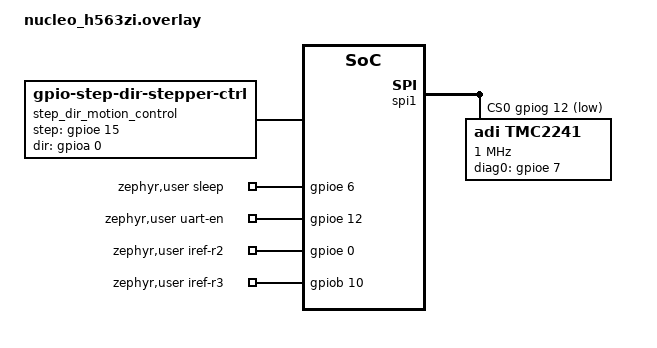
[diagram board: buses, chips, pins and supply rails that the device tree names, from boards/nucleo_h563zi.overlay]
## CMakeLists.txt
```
 # SPDX-FileCopyrightText: Copyright (c) 2025 Jilay Sandeep Pandya
 # SPDX-License-Identifier: Apache-2.0

cmake_minimum_required(VERSION 3.28.0)

find_package(Zephyr REQUIRED HINTS $ENV{ZEPHYR_BASE})
project(stepper_generic)

FILE(GLOB app_sources src/*.c)
target_sources(app PRIVATE ${app_sources})
```

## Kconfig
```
# SPDX-FileCopyrightText: Copyright (c) 2025 Jilay Sandeep Pandya
# SPDX-License-Identifier: Apache-2.0

mainmenu "Stepper generic sample application"

config STEPS_PER_REV
	int "Steps per revolution"
	default 200

config STEP_INTERVAL_NS
	int "Step interval (ns)"
	default 1000000

config PING_PONG_N_REV
	int "Change direction every N revolutions"
	default 1

config RAMP_ACCELERATION
	int "Ramp acceleration micro-step/s²"
	default 100

config RAMP_MAX_VELOCITY
	int "Ramp max velocity micro-steps/s"
	default 1000

config RAMP_DECELERATION
	int "Ramp deceleration micro-step/s²"
	default 100

config MONITOR_THREAD_TIMEOUT_MS
	int "Monitor thread timeout (ms)"
	default 1000

config MONITOR_THREAD_STACK_SIZE
	int "Monitor thread stack size"
	default 1024

source "Kconfig.zephyr"
```

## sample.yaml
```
sample:
  name: Generic Stepper Sample
tests:
  sample.drivers.stepper.generic:
    harness: stepper
    tags: stepper
    platform_allow: nucleo_g071rb
    depends_on: gpio input
```

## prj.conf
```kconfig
CONFIG_STEPPER=y
CONFIG_LOG=y
CONFIG_INPUT=y
```

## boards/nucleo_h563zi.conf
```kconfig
# Default CONFIG_STEP_INTERVAL_NS (1ms/microstep) turns the motor far too
# slowly for StallGuard's back-EMF-based load estimate to produce a meaningful
# signal. 50us/microstep, together with the 16 microsteps/step set in the
# overlay, was measured on hardware to give a usable signal (TSTEP 400 fCLK
# cycles at 16 MHz).
CONFIG_STEP_INTERVAL_NS=50000
```

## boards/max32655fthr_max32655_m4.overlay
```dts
/*
 * SPDX-FileCopyrightText: Copyright (c) 2026
 * SPDX-License-Identifier: Apache-2.0
 *
 * TMC2241-EVKIT (TMC2241-EVAL board only, Landungsbruecke/Eselsbruecke
 * bypassed), wired directly to the MAX32655FTHR (M4 core) Feather header.
 *
 * TMC2241-EVAL J201 (44-pin, main IO connector) -> MAX32655FTHR Feather:
 *   27 SPI_SCK     -> feather pin 6  (feather_spi, shared bus)
 *   29 SPI_MOSI    -> feather pin 7  (feather_spi)
 *   28 SPI_MISO    -> feather pin 8  (feather_spi)
 *   24 SPI_CS_DRV  -> feather_spi CS0 (dedicated SS0 pin, hardware chip select)
 *    8 DRV_EN      -> feather pin 17 (gpio0.24)
 *   38 DIAG0       -> feather pin 18 (gpio0.25)
 *    1 GND         -> Feather GND
 *   44 (unused; +5V_VM is a separate board-internal rail, not needed here)
 *
 * TMC2241-EVAL J205 (direct STEP/DIR header) -> MAX32655FTHR Feather:
 *   STEP -> feather pin 19 (gpio1.7)
 *   DIR  -> feather pin 20 (gpio1.6)
 *   GND  -> Feather GND
 *
 * Board-local jumpers on TMC2241-EVAL (no MCU GPIO needed):
 *   - J201 pin 20 (UART_EN) -> GND (selects SPI mode; internal pulldown
 *     already defaults this, but tie explicitly since it's run out to a
 *     44-pin connector)
 *   - J201 pin 23 (CLK)     -> GND (use the internal 12.5MHz oscillator,
 *     per TMC2241 datasheet "Clock Oscillator and Clock Input")
 *   - J201 pin 19 (SLEEP)   -> PTH209 (+VCC_IO test point) (internal
 *     pulldown means floating = sleep mode; must be held high)
 *   - MAX32655FTHR 3V3      -> PTH209 (+VCC_IO) / PTH210 (GND) (R202 is
 *     populated by default, routing +VCC_IO to IC201's 3.3V LDO output net
 *     -- the LDO is unpowered without the Landungsbruecke, so driving
 *     +VCC_IO directly from the MCU's 3V3 here is safe)
 *   - Motor power (+VM/GND) -> external bench PSU into J202, NOT the MCU.
 */

/ {
	aliases {
		stepper-driver = &tmc2241_stepper_driver;
		stepper-ctrl = &step_dir_motion_control;
	};

	step_dir_motion_control: motion-controller {
		compatible = "zephyr,gpio-step-dir-stepper-ctrl";
		step-gpios = <&gpio1 7 GPIO_ACTIVE_HIGH>; /* feather pin 19 */
		dir-gpios = <&gpio1 6 GPIO_ACTIVE_HIGH>;  /* feather pin 20 */
		stepper-driver = <&tmc2241_stepper_driver>;
	};
};

&feather_spi {
	tmc2241: tmc2241@0 {
		compatible = "adi,tmc2241";
		reg = <0>;
		spi-max-frequency = <DT_FREQ_M(1)>;

		clock-frequency = <12500000>; /* internal osc typ. freq, see note above */
		en-pwm-mode;
		diag0-gpios = <&gpio0 25 GPIO_ACTIVE_HIGH>; /* feather pin 18 */

		tmc2241_stepper_driver: stepper-driver {
			compatible = "adi,tmc5241-stepper-driver";
			/* feather pin 17, DRV_ENN active-low */
			en-gpios = <&gpio0 24 GPIO_ACTIVE_LOW>;
			micro-step-res = <256>;
			stallguard2-threshold = <9>;
		};
	};
};
```

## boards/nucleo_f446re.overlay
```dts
#include <zephyr/dt-bindings/gpio/gpio.h>

/ {
	aliases {
		stepper = &tmc2209;
	};

	chosen {
		zephyr,shell-uart = &usart2;
	};
};

&timers2 {
	status = "okay";

	counter2: counter {
		status = "okay";

		pwm {
			status = "disabled";
		};
	};
};

/ {

	tmc2209: adi_tmc2209 {
		status = "okay";
		compatible = "adi,tmc2209";

		step-gpios = <&gpioa 10 GPIO_ACTIVE_HIGH>; /* D2 */
		dir-gpios = <&gpiob 3 GPIO_ACTIVE_HIGH>; /* D3 */
		en-gpios = <&gpiob 5 GPIO_ACTIVE_HIGH>; /* D4 */

		counter = <&counter2>;
	};
};
```

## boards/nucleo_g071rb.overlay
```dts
/*
 * Copyright (c) 2025 Jilay Sandeep Pandya
 *
 * SPDX-License-Identifier: Apache-2.0
 */

/ {
	aliases {
		stepper-driver = &tmc2209;
		stepper-ctrl = &step_dir_motion_control;
	};

	tmc2209: stepper-driver {
		compatible = "adi,tmc2209";
		en-gpios = <&gpioa 6 GPIO_ACTIVE_HIGH>; /* D12 */
		m0-gpios = <&gpiob 0 GPIO_ACTIVE_HIGH>; /* D10 */
		m1-gpios = <&gpioa 7 GPIO_ACTIVE_HIGH>; /* D11 */
		micro-step-res = <32>;
	};

	step_dir_motion_control: motion-controller {
		compatible = "zephyr,gpio-step-dir-stepper-ctrl";
		step-gpios = <&gpioa 9 GPIO_ACTIVE_HIGH>; /* D8 */
		dir-gpios = <&gpioc 7 GPIO_ACTIVE_HIGH>; /* D9 */
		invert-direction;
		stepper-driver = <&tmc2209>;
	};
};
```

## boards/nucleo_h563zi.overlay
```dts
/*
 * SPDX-FileCopyrightText: Copyright (c) 2026
 * SPDX-License-Identifier: Apache-2.0
 *
 * TMC2241-EVKIT (TMC2241-EVAL board), bridged to the Nucleo-H563ZI via the
 * "Sternbruecke Nucleo V0.1" adapter board (stacks on the Nucleo's Arduino/
 * Morpho headers, plugs directly into the EVAL board's J201 connector - no
 * loose jumper wires for the signals below). Every pin here was traced
 * directly off the Sternbruecke schematic + cross-checked against ST's
 * UM3115 Zio connector tables, not guessed.
 *
 * TMC2241-EVAL J201 pin -> Sternbruecke J101 pin -> Nucleo Zio Dxx -> STM32 pin:
 *   27 SPI_SCK    -> D13 -> PA5  (board default &spi1 pinctrl, unchanged)
 *   29 SPI_MOSI   -> D11 -> PB5  (board default &spi1 pinctrl, unchanged)
 *   28 SPI_MISO   -> D12 -> PG9  (board default &spi1 pinctrl, unchanged)
 *   24 SPI_CS_DRV -> D7  -> PG12 (overrides the board's default D10/PD14 CS)
 *    8 DRV_EN     -> D35 -> PA3
 *   38 DIAG0      -> D41 -> PE7
 *   19 SLEEP      -> D38 -> PE6  (must stay driven high - datasheet: floating/low = sleep)
 *   20 UART_EN    -> D39 -> PE12 (low = SPI mode)
 *    9 IREF_R2    -> D34 -> PE0  (low = lowest/safest current range, see IREF_R3)
 *   10 IREF_R3    -> D36 -> PB10
 *   23 CLK        -> Sternbruecke Y201 16MHz XTAL OSC. Its EN pin is pulled high
 *                     by default (R214, 4.7k to +3.3V); Nucleo D42 only pulls it
 *                     low to disable, so leaving D42 undriven means CLK is
 *                     actively driven at 16MHz (not grounded for the internal
 *                     osc) - clock-frequency below is set to 16000000 to match.
 *   17 STEP_INT   -> D37 -> PE15
 *   18 DIR_INT    -> D32 -> PA0
 *
 * STEP/DIR use the INT path (STEP_INT/DIR_INT, J201 pins 17/18, via the
 * Sternbruecke) rather than EXT (TMC2241-EVAL's separate J205 header) - no
 * loose jumper wires needed. This requires J206 and J207 (on the EVAL board)
 * to both have their shunt installed in the INT position (pins 1-2), not EXT
 * (pins 2-3) - without those shunts J205/INT is electrically disconnected
 * from the chip regardless of overlay wiring.
 */

/ {
	aliases {
		stepper-driver = &tmc2241_stepper_driver;
		stepper-ctrl = &step_dir_motion_control;
	};

	step_dir_motion_control: motion-controller {
		compatible = "zephyr,gpio-step-dir-stepper-ctrl";
		step-gpios = <&gpioe 15 GPIO_ACTIVE_HIGH>; /* STEP_INT, via Sternbruecke D37 */
		dir-gpios = <&gpioa 0 GPIO_ACTIVE_HIGH>;   /* DIR_INT, via Sternbruecke D32 */
		stepper-driver = <&tmc2241_stepper_driver>;
	};

	/* Static pins not covered by the tmc2241 DT binding - driven once at boot
	 * by main.c via the zephyr,user node (see HAS_STATIC_PINS in main.c).
	 */
	zephyr,user {
		/* must stay high - low/floating = chip sleep */
		sleep-gpios = <&gpioe 6 GPIO_ACTIVE_HIGH>;
		uart-en-gpios = <&gpioe 12 GPIO_ACTIVE_HIGH>; /* low = SPI mode */
		/* both low = 48kOhm = lowest current range */
		iref-r2-gpios = <&gpioe 0 GPIO_ACTIVE_HIGH>;
		iref-r3-gpios = <&gpiob 10 GPIO_ACTIVE_HIGH>;
	};
};

&spi1 {
	cs-gpios = <&gpiog 12 GPIO_ACTIVE_LOW>; /* overrides board default D10/PD14 */

	tmc2241: tmc2241@0 {
		compatible = "adi,tmc2241";
		reg = <0>;
		spi-max-frequency = <DT_FREQ_M(1)>;

		/* Sternbruecke Y201 XTAL OSC, actively driven (see header comment) */
		clock-frequency = <16000000>;
		diag0-gpios = <&gpioe 7 GPIO_ACTIVE_HIGH>;
		en-pwm-mode;
		/* >= measured TSTEP (400 fCLK cycles) at this sample's speed */
		tcoolthrs = <1000>;
		/* 12V/0.5A: unloaded SG4_RESULT >= 58, stalled 0-6; compared as 2x */
		sg4-threshold = <15>;

		tmc2241_stepper_driver: stepper-driver {
			compatible = "adi,tmc5241-stepper-driver";
			en-gpios = <&gpioa 3 GPIO_ACTIVE_LOW>; /* DRV_ENN active-low */
			/* 256 at the same step interval gave no usable SG4_RESULT */
			micro-step-res = <16>;
			/* unused while en-pwm-mode selects StallGuard4 */
			stallguard2-threshold = <12>;
		};
	};
};
```

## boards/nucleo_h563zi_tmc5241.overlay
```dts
/*
 * SPDX-FileCopyrightText: Copyright (c) 2026
 * SPDX-License-Identifier: Apache-2.0
 *
 * TMC5241-EVKIT on the Nucleo-H563ZI through the "Sternbruecke Nucleo V0.1"
 * adapter, using the same connector, shunts and Nucleo pins as the TMC2241
 * overlay (nucleo_h563zi.overlay, see its header for the pin trace), except
 * for the chip-select. The Eval connector has two SPI buses that share the
 * Nucleo's SPI clock and data pins (D13, D11, D12) and differ only in the
 * chip-select: the TMC2241-EVAL uses SPI2_nCS0 (pin 24, D7), the TMC5241-EVKIT
 * answers on SPI1_nCS (pin 30 -> Nucleo D8 -> PF3). Found on the bench by
 * trying every chip-select: only this one returns a valid IOIN (revision
 * 0x41, external clock and reference resistor detected). D5, D6 and D7 are
 * silent. The other TMC5241 signals (SLEEP, UART_EN, DRV_ENN, DIAG0, CLK)
 * use the same pins as the TMC2241 and were confirmed by register readback.
 *
 * Use it in place of the default overlay:
 *   west build -b nucleo_h563zi samples/drivers/stepper/generic -- \
 *       -DDTC_OVERLAY_FILE=boards/nucleo_h563zi_tmc5241.overlay
 *
 * The TMC5241 moves itself with its ramp generator, so there is no
 * STEP/DIR motion controller here. The ramp values are deliberately slow
 * for a first bring-up: with fCLK = 16 MHz, v[Hz] = v * fCLK / 2^24, so
 * vmax = 100000 is about 95k microsteps/s, or 1.9 rev/s at 256
 * microsteps/step and 200 full steps/rev. StallGuard is off (tcoolthrs and
 * thigh are 0): this sample never configures the chip's stall stop, so use
 * samples/drivers/stepper/tmc5241, whose overlay has the tuned values, to test
 * stall detection.
 */

/ {
	aliases {
		stepper-driver = &tmc5241_stepper_driver;
		stepper-ctrl = &tmc5241_motion_controller;
	};

	/* Driven once at boot by main.c, same pins as the TMC2241 overlay */
	zephyr,user {
		/* must stay high - low/floating = chip sleep */
		sleep-gpios = <&gpioe 6 GPIO_ACTIVE_HIGH>;
		uart-en-gpios = <&gpioe 12 GPIO_ACTIVE_HIGH>; /* low = SPI mode */
		/* both low = lowest current range on the TMC2241-EVAL */
		iref-r2-gpios = <&gpioe 0 GPIO_ACTIVE_HIGH>;
		iref-r3-gpios = <&gpiob 10 GPIO_ACTIVE_HIGH>;
	};
};

&spi1 {
	cs-gpios = <&gpiof 3 GPIO_ACTIVE_LOW>; /* Eval pin 30 SPI1_nCS = D8, overrides D10/PD14 */

	tmc5241: tmc5241@0 {
		compatible = "adi,tmc5241";
		reg = <0>;
		spi-max-frequency = <DT_FREQ_M(1)>;

		/* Sternbruecke Y201 XTAL OSC (IOIN.EXT_CLK should read 1) */
		clock-frequency = <16000000>;
		diag0-gpios = <&gpioe 7 GPIO_ACTIVE_HIGH>;
		en-pwm-mode;

		tmc5241_stepper_driver: stepper-driver {
			compatible = "adi,tmc5241-stepper-driver";
			en-gpios = <&gpioa 3 GPIO_ACTIVE_LOW>; /* DRV_ENN active-low */
			micro-step-res = <256>;
			stallguard2-threshold = <0>;
		};

		tmc5241_motion_controller: stepper-ctrl {
			compatible = "adi,tmc5241-stepper-ctrl";
			vstart = <100>;
			vstop = <200>;
			a1 = <3000>;
			v1 = <50000>;
			d1 = <3000>;
			vmax = <100000>;
			amax = <3000>;
			dmax = <3000>;
			tzerowait = <100>;
			thigh = <0>;
			tcoolthrs = <0>;
			/* IRUN 10 of 31 is about 0.23 A RMS at the lowest range */
			ihold = <1>;
			irun = <10>;
			iholddelay = <1>;
		};
	};
};
```

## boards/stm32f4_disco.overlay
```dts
#include <zephyr/dt-bindings/gpio/gpio.h>

/ {
	aliases {
		stepper = &tmc2209;
	};

	chosen {
		zephyr,console = &usart1;
		zephyr,shell-uart = &usart1;
	};
};

&user_button {
	gpios = <&gpioa 15 GPIO_ACTIVE_HIGH>;
};

&usart1 {
	pinctrl-0 = <&usart1_tx_pa9 &usart1_rx_pa10>;
	pinctrl-names = "default";
	current-speed = <115200>;
	status = "okay";
};

&timers2 {
	status = "okay";

	counter2: counter {
		status = "okay";

		pwm {
			status = "disabled";
		};
	};
};

/ {

	tmc2209: adi_tmc2209 {
		status = "okay";
		// compatible = "ti,drv84xx";
		compatible = "adi,tmc2209";

		step-gpios = <&gpioe 3 GPIO_ACTIVE_HIGH>; /* D2 */
		dir-gpios = <&gpioe 2 GPIO_ACTIVE_HIGH>; /* D3 */
		en-gpios = <&gpioe 4 GPIO_ACTIVE_LOW>; /* D4 */

		counter = <&counter2>;
	};
};
```

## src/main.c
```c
/*
 * SPDX-FileCopyrightText: Copyright (c) 2025 Jilay Sandeep Pandya.
 * SPDX-License-Identifier: Apache-2.0
 */

#include <zephyr/device.h>
#include <zephyr/drivers/gpio.h>
#include <zephyr/drivers/stepper/stepper.h>
#include <zephyr/drivers/stepper/stepper_ctrl.h>
#include <zephyr/init.h>
#include <zephyr/input/input.h>
#include <zephyr/kernel.h>

#include <zephyr/logging/log.h>
LOG_MODULE_REGISTER(stepper_generic, CONFIG_STEPPER_LOG_LEVEL);

/*
 * The stepper-driver alias is optional: some stepper controllers (e.g. h-bridge based ones)
 * drive the motor directly and do not have a separate hardware driver to enable/disable.
 */
#if DT_NODE_EXISTS(DT_ALIAS(stepper_driver))
#define HAS_STEPPER_DRIVER 1
#define STEPPER_DRIVER_MICRO_STEP_RES DT_PROP_OR(DT_ALIAS(stepper_driver), micro_step_res, 1)
static const struct device *stepper_driver = DEVICE_DT_GET(DT_ALIAS(stepper_driver));
#else
#define HAS_STEPPER_DRIVER 0
#define STEPPER_DRIVER_MICRO_STEP_RES 1
#endif
static const struct device *stepper_ctrl = DEVICE_DT_GET(DT_ALIAS(stepper_ctrl));

/*
 * Some boards (e.g. the TMC2241-EVKIT via the Sternbruecke Nucleo V0.1) need a
 * handful of static GPIOs driven once at boot for signals not covered by any
 * devicetree binding (SLEEP, UART_EN, IREF_R2/R3) - declared under zephyr,user.
 */
#define ZEPHYR_USER_NODE DT_PATH(zephyr_user)
#if DT_NODE_HAS_PROP(ZEPHYR_USER_NODE, sleep_gpios)
#define HAS_STATIC_PINS 1
static const struct gpio_dt_spec sleep_gpio = GPIO_DT_SPEC_GET(ZEPHYR_USER_NODE, sleep_gpios);
static const struct gpio_dt_spec uart_en_gpio =
	GPIO_DT_SPEC_GET(ZEPHYR_USER_NODE, uart_en_gpios);
static const struct gpio_dt_spec iref_r2_gpio =
	GPIO_DT_SPEC_GET(ZEPHYR_USER_NODE, iref_r2_gpios);
static const struct gpio_dt_spec iref_r3_gpio =
	GPIO_DT_SPEC_GET(ZEPHYR_USER_NODE, iref_r3_gpios);

static void init_static_pins(void)
{
	gpio_pin_configure_dt(&sleep_gpio, GPIO_OUTPUT_ACTIVE);
	gpio_pin_configure_dt(&uart_en_gpio, GPIO_OUTPUT_INACTIVE);
	/* Raised to the next current step (IREF_R2 high) for a real StallGuard
	 * test - default (both low, 48kOhm) gives ~0.245A, well under the
	 * QSH2818-32-07-006's rated 0.67A/phase. Watch motor temperature.
	 */
	gpio_pin_configure_dt(&iref_r2_gpio, GPIO_OUTPUT_ACTIVE);
	gpio_pin_configure_dt(&iref_r3_gpio, GPIO_OUTPUT_INACTIVE);
}

/* Must run before CONFIG_STEPPER_INIT_PRIORITY (default 90) so SLEEP is driven
 * high before the stepper driver's own init tries to talk SPI to the chip -
 * calling this from main() ran too late, after all POST_KERNEL device inits.
 */
static int init_static_pins_sys_init(void)
{
	init_static_pins();
	return 0;
}
SYS_INIT(init_static_pins_sys_init, POST_KERNEL, 50);
#else
#define HAS_STATIC_PINS 0
#endif

enum stepper_mode {
	STEPPER_MODE_ENABLE,
	STEPPER_MODE_PING_PONG_RELATIVE,
	STEPPER_MODE_PING_PONG_ABSOLUTE,
	STEPPER_MODE_ROTATE_CW,
	STEPPER_MODE_ROTATE_CCW,
	STEPPER_MODE_STOP,
	STEPPER_MODE_DISABLE,
};

static atomic_t stepper_mode = ATOMIC_INIT(STEPPER_MODE_DISABLE);

static int32_t ping_pong_target_position = CONFIG_STEPS_PER_REV * CONFIG_PING_PONG_N_REV *
					   STEPPER_DRIVER_MICRO_STEP_RES;

static K_SEM_DEFINE(stepper_generic_sem, 0, 1);

static void stepper_callback(const struct device *dev, const enum stepper_ctrl_event event,
			     void *user_data)
{
	switch (event) {
	case STEPPER_CTRL_EVENT_STEPS_COMPLETED:
		k_sem_give(&stepper_generic_sem);
		break;
	default:
		break;
	}
}

#if HAS_STEPPER_DRIVER
static void stepper_driver_callback(const struct device *dev, const enum stepper_event event,
				    void *user_data)
{
	ARG_UNUSED(user_data);
	switch (event) {
	case STEPPER_EVENT_STALL_DETECTED:
		LOG_WRN("event: stall detected");
		break;
	case STEPPER_EVENT_FAULT_DETECTED:
		LOG_ERR("event: fault detected");
		break;
	default:
		break;
	}
}
#endif /* HAS_STEPPER_DRIVER */

static void button_pressed(struct input_event *event, void *user_data)
{
	ARG_UNUSED(user_data);

	if (event->value == 0 && event->type == INPUT_EV_KEY) {
		return;
	}
	enum stepper_mode mode = atomic_get(&stepper_mode);

	if (mode == STEPPER_MODE_DISABLE) {
		atomic_set(&stepper_mode, STEPPER_MODE_ENABLE);
	} else {
		atomic_inc(&stepper_mode);
	}
	k_sem_give(&stepper_generic_sem);
}

INPUT_CALLBACK_DEFINE(NULL, button_pressed, NULL);

int main(void)
{
	LOG_INF("Starting generic stepper sample");
	if (!device_is_ready(stepper_ctrl)) {
		LOG_ERR("Device %s is not ready", stepper_ctrl->name);
		return -ENODEV;
	}
#if HAS_STEPPER_DRIVER
	if (!device_is_ready(stepper_driver)) {
		LOG_ERR("Device %s is not ready", stepper_driver->name);
		return -ENODEV;
	}
	stepper_set_event_cb(stepper_driver, stepper_driver_callback, NULL);

	/* STS Software Items 2/3 (SRS-DRV-003/004): microstep resolution
	 * get/set round-trip, and rejection of a non-power-of-two value.
	 */
	enum stepper_micro_step_resolution ms_res;
	int ms_err;

	ms_err = stepper_set_micro_step_res(stepper_driver, STEPPER_MICRO_STEP_256);
	stepper_get_micro_step_res(stepper_driver, &ms_res);
	LOG_INF("Microstep resolution round-trip: set 256 (err %d), get %d", ms_err, ms_res);

	ms_err = stepper_set_micro_step_res(stepper_driver, (enum stepper_micro_step_resolution)3);
	LOG_INF("Invalid microstep resolution (3) rejected with err %d", ms_err);

	/* Restore the devicetree resolution after the round-trip test above */
	stepper_set_micro_step_res(
		stepper_driver, (enum stepper_micro_step_resolution)STEPPER_DRIVER_MICRO_STEP_RES);
#endif
	LOG_DBG("stepper is %p, name is %s", stepper_ctrl, stepper_ctrl->name);

	stepper_ctrl_set_event_cb(stepper_ctrl, stepper_callback, NULL);
	stepper_ctrl_set_reference_position(stepper_ctrl, 0);
	stepper_ctrl_set_microstep_interval(stepper_ctrl, CONFIG_STEP_INTERVAL_NS);

	for (;;) {
		k_sem_take(&stepper_generic_sem, K_FOREVER);
		switch (atomic_get(&stepper_mode)) {
		case STEPPER_MODE_ENABLE:
#if HAS_STEPPER_DRIVER
			stepper_enable(stepper_driver);
#endif
			LOG_INF("mode: enable");
			break;
		case STEPPER_MODE_PING_PONG_RELATIVE:
			ping_pong_target_position *= -1;
			stepper_ctrl_move_by(stepper_ctrl, ping_pong_target_position);
			LOG_INF("mode: ping pong relative");
			break;
		case STEPPER_MODE_PING_PONG_ABSOLUTE:
			ping_pong_target_position *= -1;
			stepper_ctrl_move_to(stepper_ctrl, ping_pong_target_position);
			LOG_INF("mode: ping pong absolute");
			break;
		case STEPPER_MODE_ROTATE_CW:
			stepper_ctrl_run(stepper_ctrl, STEPPER_CTRL_DIRECTION_POSITIVE);
			LOG_INF("mode: rotate cw");
			break;
		case STEPPER_MODE_ROTATE_CCW:
			stepper_ctrl_run(stepper_ctrl, STEPPER_CTRL_DIRECTION_NEGATIVE);
			LOG_INF("mode: rotate ccw");
			break;
		case STEPPER_MODE_STOP:
			stepper_ctrl_stop(stepper_ctrl);
			LOG_INF("mode: stop");
			break;
		case STEPPER_MODE_DISABLE:
#if HAS_STEPPER_DRIVER
			stepper_disable(stepper_driver);
#endif
			LOG_INF("mode: disable");
			break;
		default:
			break;
		}
	}
	return 0;
}

static void monitor_thread(void)
{
	for (;;) {
		int32_t actual_position;

		stepper_ctrl_get_actual_position(stepper_ctrl, &actual_position);
		LOG_DBG("Actual position: %d", actual_position);
		k_sleep(K_MSEC(CONFIG_MONITOR_THREAD_TIMEOUT_MS));
	}
}

K_THREAD_DEFINE(monitor_tid, CONFIG_MONITOR_THREAD_STACK_SIZE, monitor_thread, NULL, NULL, NULL, 5,
		0, 0);
```
